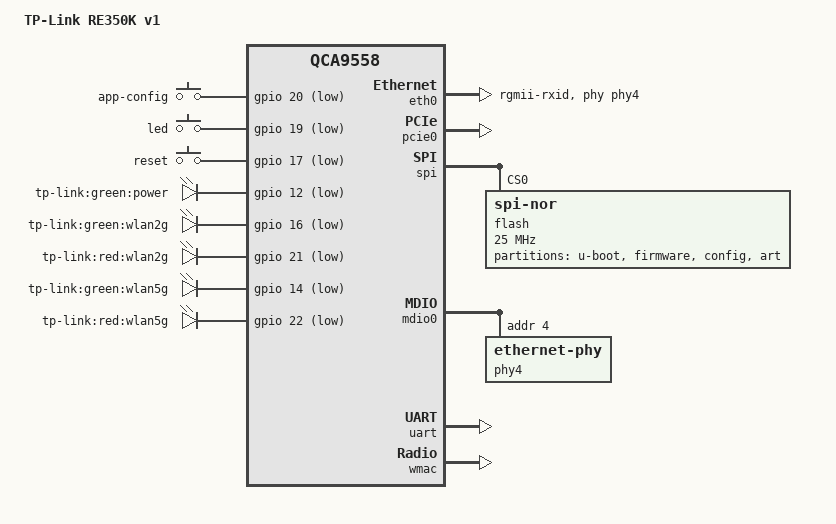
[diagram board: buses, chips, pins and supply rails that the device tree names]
// SPDX-License-Identifier: GPL-2.0-or-later OR MIT
/dts-v1/;

#include <dt-bindings/gpio/gpio.h>
#include <dt-bindings/input/input.h>

#include "qca955x.dtsi"

/ {
	model = "TP-Link RE350K v1";
	compatible = "tplink,re350k-v1", "qca,qca9558";

	aliases {
		led-boot = &led_power;
		led-failsafe = &led_power;
		led-running = &led_power;
		led-upgrade = &led_power;
	};

	keys {
		compatible = "gpio-keys";

		app-config {
			label = "app-config";
			linux,code = <BTN_0>;
			gpios = <&gpio 20 GPIO_ACTIVE_LOW>;
			debounce-interval = <60>;
		};

		led {
			label = "led";
			linux,code = <BTN_1>;
			gpios = <&gpio 19 GPIO_ACTIVE_LOW>;
			debounce-interval = <60>;
		};

		reset {
			label = "reset";
			linux,code = <KEY_RESTART>;
			gpios = <&gpio 17 GPIO_ACTIVE_LOW>;
			debounce-interval = <60>;
		};
	};

	leds {
		compatible = "gpio-leds";

		led_power: power {
			label = "tp-link:green:power";
			gpios = <&gpio 12 GPIO_ACTIVE_LOW>;
			default-state = "on";
		};

		wlan2g_green {
			label = "tp-link:green:wlan2g";
			gpios = <&gpio 16 GPIO_ACTIVE_LOW>;
			linux,default-trigger = "phy1tpt";
		};

		wlan2g_red {
			label = "tp-link:red:wlan2g";
			gpios = <&gpio 21 GPIO_ACTIVE_LOW>;
		};

		wlan5g_green {
			label = "tp-link:green:wlan5g";
			gpios = <&gpio 14 GPIO_ACTIVE_LOW>;
			linux,default-trigger = "phy0tpt";
		};

		wlan5g_red {
			label = "tp-link:red:wlan5g";
			gpios = <&gpio 22 GPIO_ACTIVE_LOW>;
		};
	};
};

&eth0 {
	status = "okay";

	phy-handle = <&phy4>;
	phy-mode = "rgmii-rxid";

	pll-data = <0x9e000000 0x80000101 0x80001313>;

	mtd-mac-address = <&config 0x10008>;

	gmac-config {
		device = <&gmac>;

		rxdv-delay = <2>;
		rxd-delay = <2>;
		txen-delay = <0>;
		txd-delay = <0>;
		rgmii-enabled = <1>;
	};
};

&pcie0 {
	status = "okay";
};

&pinmux {
	mdio0_pins: mdio0_pins {
		/* GPIO 18 as MDIO(0x20), GPIO 23 as MDC(0x21) */
		pinctrl-single,bits = <0x10 0x00200000 0x00ff0000>,
				      <0x14 0x21000000 0xff000000>;
	};
};

&spi {
	status = "okay";

	num-cs = <1>;

	flash@0 {
		compatible = "jedec,spi-nor";
		reg = <0>;
		spi-max-frequency = <25000000>;

		partitions {
			compatible = "fixed-partitions";
			#address-cells = <1>;
			#size-cells = <1>;

			partition@0 {
				label = "u-boot";
				reg = <0x000000 0x020000>;
				read-only;
			};

			partition@20000 {
				compatible = "tplink,firmware";
				label = "firmware";
				reg = <0x020000 0xd70000>;
			};

			config: partition@d90000 {
				label = "config";
				reg = <0xd90000 0x260000>;
				read-only;
			};

			art: partition@ff0000 {
				label = "art";
				reg = <0xff0000 0x010000>;
				read-only;
			};
		};
	};
};

&mdio0 {
	status = "okay";

	pinctrl-name = "default";
	pinctrl-0 = &mdio0_pins;

	phy-mask = <0x10>;

	phy4: ethernet-phy@4 {
		reg = <4>;

		eee-broken-100tx;
		eee-broken-1000t;
	};
};

&uart {
	status = "okay";
};

&wmac {
	status = "okay";

	mtd-cal-data = <&art 0x1000>;
	mtd-mac-address = <&config 0x10008>;
};
